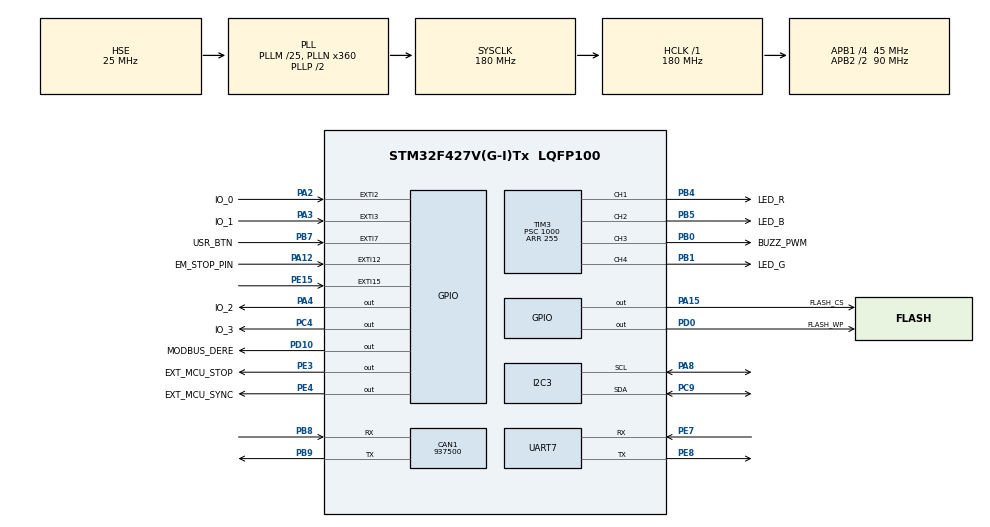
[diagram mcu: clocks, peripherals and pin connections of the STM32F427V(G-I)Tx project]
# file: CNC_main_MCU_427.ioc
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CAN1.BS1=CAN_BS1_1TQ
CAN1.BS2=CAN_BS2_1TQ
CAN1.CalculateBaudRate=937500
CAN1.CalculateTimeBit=1066
CAN1.CalculateTimeQuantum=355.55555555555554
Dma.Request0=TIM3_CH1/TRIG
Dma.Request1=TIM3_CH3
Dma.TIM3_CH1/TRIG.0.Direction=DMA_MEMORY_TO_PERIPH
Dma.TIM3_CH1/TRIG.0.FIFOMode=DMA_FIFOMODE_ENABLE
Dma.TIM3_CH1/TRIG.0.FIFOThreshold=DMA_FIFO_THRESHOLD_FULL
Dma.TIM3_CH1/TRIG.0.Instance=DMA1_Stream4
Dma.TIM3_CH1/TRIG.0.MemBurst=DMA_MBURST_SINGLE
Dma.TIM3_CH1/TRIG.0.MemDataAlignment=DMA_MDATAALIGN_HALFWORD
Dma.TIM3_CH1/TRIG.0.MemInc=DMA_MINC_ENABLE
Dma.TIM3_CH1/TRIG.0.Mode=DMA_CIRCULAR
Dma.TIM3_CH1/TRIG.0.PeriphBurst=DMA_PBURST_SINGLE
Dma.TIM3_CH1/TRIG.0.PeriphDataAlignment=DMA_PDATAALIGN_HALFWORD
Dma.TIM3_CH1/TRIG.0.PeriphInc=DMA_PINC_DISABLE
Dma.TIM3_CH1/TRIG.0.Priority=DMA_PRIORITY_VERY_HIGH
Dma.TIM3_CH3.1.Direction=DMA_MEMORY_TO_PERIPH
Dma.TIM3_CH3.1.FIFOMode=DMA_FIFOMODE_ENABLE
Dma.TIM3_CH3.1.FIFOThreshold=DMA_FIFO_THRESHOLD_FULL
Dma.TIM3_CH3.1.Instance=DMA1_Stream7
Dma.TIM3_CH3.1.MemBurst=DMA_MBURST_SINGLE
Dma.TIM3_CH3.1.MemDataAlignment=DMA_MDATAALIGN_HALFWORD
Dma.TIM3_CH3.1.MemInc=DMA_MINC_ENABLE
Dma.TIM3_CH3.1.Mode=DMA_CIRCULAR
Dma.TIM3_CH3.1.PeriphBurst=DMA_PBURST_SINGLE
Dma.TIM3_CH3.1.PeriphDataAlignment=DMA_PDATAALIGN_HALFWORD
Dma.TIM3_CH3.1.PeriphInc=DMA_PINC_DISABLE
Dma.TIM3_CH3.1.Priority=DMA_PRIORITY_VERY_HIGH
I2C3.I2C_Mode=I2C_Standard
Mcu.Family=STM32F4
Mcu.Name=STM32F427V(G-I)Tx
Mcu.Package=LQFP100
NVIC.DMA1_Stream4_IRQn=true\:0\:0\:false\:false\:true\:false\:true\:true
NVIC.DMA1_Stream7_IRQn=true\:0\:0\:false\:false\:true\:false\:true\:true
NVIC.I2C3_ER_IRQn=true\:0\:0\:false\:false\:true\:true\:true\:true
NVIC.PriorityGroup=NVIC_PRIORITYGROUP_4
NVIC.UART7_IRQn=true\:0\:0\:false\:false\:true\:true\:true\:true
PA0/WKUP.Signal=UART4_TX
PA1.Signal=UART4_RX
PA12.GPIO_Label=EM_STOP_PIN
PA12.Signal=GPXTI12
PA13.Mode=Serial_Wire
PA13.Signal=SYS_JTMS-SWDIO
PA14.Mode=Serial_Wire
PA14.Signal=SYS_JTCK-SWCLK
PA15.GPIO_Label=FLASH_CS
PA15.Signal=GPIO_Output
PA2.GPIO_Label=IO_0
PA2.Signal=GPXTI2
PA3.GPIO_Label=IO_1
PA3.Signal=GPXTI3
PA4.GPIO_Label=IO_2
PA4.Signal=GPIO_Output
PA5.Signal=SPI1_SCK
PA6.Signal=SPI1_MISO
PA7.Signal=SPI1_MOSI
PA8.Mode=I2C
PA8.Signal=I2C3_SCL
PB0.GPIO_Label=BUZZ_PWM
PB0.GPIO_PuPd=GPIO_NOPULL
PB0.GPIO_Speed=GPIO_SPEED_FREQ_VERY_HIGH
PB0.Signal=S_TIM3_CH3
PB1.GPIO_Label=LED_G
PB1.GPIO_ModeDefaultPP=GPIO_MODE_AF_OD
PB1.GPIO_PuPd=GPIO_NOPULL
PB1.GPIO_Speed=GPIO_SPEED_FREQ_VERY_HIGH
PB1.Signal=S_TIM3_CH4
PB10.Signal=I2C2_SCL
PB11.Signal=I2C2_SDA
PB4.GPIO_Label=LED_R
PB4.GPIO_ModeDefaultPP=GPIO_MODE_AF_OD
PB4.GPIO_PuPd=GPIO_NOPULL
PB4.GPIO_Speed=GPIO_SPEED_FREQ_VERY_HIGH
PB4.Signal=S_TIM3_CH1
PB5.GPIO_Label=LED_B
PB5.GPIO_ModeDefaultPP=GPIO_MODE_AF_OD
PB5.GPIO_PuPd=GPIO_NOPULL
PB5.GPIO_Speed=GPIO_SPEED_FREQ_VERY_HIGH
PB5.Signal=S_TIM3_CH2
PB7.GPIO_Label=USR_BTN
PB7.Signal=GPXTI7
PB8.Mode=CAN_Activate
PB8.Signal=CAN1_RX
PB9.Mode=CAN_Activate
PB9.Signal=CAN1_TX
PC10.GPIO_Label=FLASH_SCK
PC10.Signal=SPI3_SCK
PC11.GPIO_Label=FLASH_MISO
PC11.Signal=SPI3_MISO
PC12.GPIO_Label=FLASH_MOSI
PC12.Signal=SPI3_MOSI
PC4.GPIO_Label=IO_3
PC4.Signal=GPIO_Output
PC9.Mode=I2C
PC9.Signal=I2C3_SDA
PD0.GPIO_Label=FLASH_WP
PD0.Signal=GPIO_Output
PD10.GPIO_Label=MODBUS_DERE
PD10.Signal=GPIO_Output
PD12.GPIO_Label=OC_3
PD12.Signal=S_TIM4_CH1
PD13.GPIO_Label=OC_2
PD13.Signal=S_TIM4_CH2
PD14.GPIO_Label=OC_1
PD14.Signal=S_TIM4_CH3
PD15.GPIO_Label=OC_0
PD15.Signal=S_TIM4_CH4
PD8.Signal=USART3_TX
PD9.Signal=USART3_RX
PE15.Signal=GPXTI15
PE3.GPIO_Label=EXT_MCU_STOP
PE3.Signal=GPIO_Output
PE4.GPIO_Label=EXT_MCU_SYNC
PE4.Signal=GPIO_Output
PE5.GPIO_Label=EXT_MCU_COCK
PE5.Signal=S_TIM9_CH1
PE7.Mode=Asynchronous
PE7.Signal=UART7_RX
PE8.Mode=Asynchronous
PE8.Signal=UART7_TX
PH0/OSC_IN.Mode=HSE-External-Oscillator
PH0/OSC_IN.Signal=RCC_OSC_IN
PH1/OSC_OUT.Mode=HSE-External-Oscillator
PH1/OSC_OUT.Signal=RCC_OSC_OUT
ProjectManager.HeapSize=0x200
ProjectManager.StackSize=0x400
ProjectManager.TargetToolchain=MDK-ARM V5.32
RCC.48MHZClocksFreq_Value=51428571.428571425
RCC.AHBFreq_Value=180000000
RCC.APB1CLKDivider=RCC_HCLK_DIV4
RCC.APB1Freq_Value=45000000
RCC.APB1TimFreq_Value=90000000
RCC.APB2CLKDivider=RCC_HCLK_DIV2
RCC.APB2Freq_Value=90000000
RCC.APB2TimFreq_Value=180000000
RCC.CortexFreq_Value=180000000
RCC.HCLKFreq_Value=180000000
RCC.HSE_VALUE=25000000
RCC.HSI_VALUE=16000000
RCC.LSE_VALUE=32768
RCC.PLLM=25
RCC.PLLN=360
RCC.PLLQ=7
RCC.PLLSourceVirtual=RCC_PLLSOURCE_HSE
RCC.SYSCLKFreq_VALUE=180000000
RCC.SYSCLKSource=RCC_SYSCLKSOURCE_PLLCLK
RCC.VCOOutputFreq_Value=360000000
SH.S_TIM3_CH1.0=TIM3_CH1,PWM Generation1 CH1
SH.S_TIM3_CH2.0=TIM3_CH2,PWM Generation2 CH2
SH.S_TIM3_CH3.0=TIM3_CH3,PWM Generation3 CH3
SH.S_TIM3_CH4.0=TIM3_CH4,PWM Generation4 CH4
SH.S_TIM4_CH1.0=TIM4_CH1
SH.S_TIM4_CH2.0=TIM4_CH2
SH.S_TIM4_CH3.0=TIM4_CH3
SH.S_TIM4_CH4.0=TIM4_CH4
SH.S_TIM9_CH1.0=TIM9_CH1
TIM3.AutoReloadPreload=TIM_AUTORELOAD_PRELOAD_ENABLE
TIM3.Channel-PWM\ Generation1\ CH1=TIM_CHANNEL_1
TIM3.Channel-PWM\ Generation2\ CH2=TIM_CHANNEL_2
TIM3.Channel-PWM\ Generation3\ CH3=TIM_CHANNEL_3
TIM3.Channel-PWM\ Generation4\ CH4=TIM_CHANNEL_4
TIM3.ClockDivision=TIM_CLOCKDIVISION_DIV1
TIM3.Period=255
TIM3.Prescaler=1000
UART7.VirtualMode=Asynchronous
VP_TIM3_VS_ClockSourceINT.Mode=Internal
board=custom

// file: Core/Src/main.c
/* USER CODE BEGIN Header */
/**
  ******************************************************************************
  * @file           : main.c
  * @brief          : Main program body
  ******************************************************************************
  * @attention
  *
  * <h2><center>&copy; Copyright (c) 2025 STMicroelectronics.
  * All rights reserved.</center></h2>
  *
  * This software component is licensed by ST under BSD 3-Clause license,
  * the "License"; You may not use this file except in compliance with the
  * License. You may obtain a copy of the License at:
  *                        opensource.org/licenses/BSD-3-Clause
  *
  ******************************************************************************
  */
/* USER CODE END Header */
#include "main.h"
#include "can.h"
#include "dma.h"
#include "i2c.h"
#include "tim.h"
#include "usart.h"
#include "gpio.h"

/* USER CODE BEGIN Includes */
#include "math.h"
/* USER CODE END Includes */

/* USER CODE BEGIN PD */
#define I2C_ADC_ADDR 0x48
/* USER CODE END PD */

/* USER CODE BEGIN PV */
uint16_t sine[1000] = {0};
uint8_t i2cData[3] = {0};
float temp = 0;
uint8_t i2cStatus = 0xff;
/* USER CODE END PV */

void SystemClock_Config(void);

int main(void)
{

  /* MCU Configuration--------------------------------------------------------*/

  /* Reset of all peripherals, Initializes the Flash interface and the Systick. */
  HAL_Init();

  /* Configure the system clock */
  SystemClock_Config();

  /* Initialize all configured peripherals */
  MX_GPIO_Init();
  MX_CAN1_Init();
  MX_DMA_Init();
  MX_UART7_Init();
  MX_TIM3_Init();
  MX_I2C3_Init();
  /* USER CODE BEGIN 2 */
	for (uint16_t i = 0; i < 1000; i++){
		sine[i] = (float) (sinf(2*3.14159*i/1000)+1)*499;
	}

	htim3.Instance -> PSC = 100;
	htim3.Instance -> ARR = 1000;
	htim3.Instance -> CCR1 = htim3.Instance -> ARR + 1;
	htim3.Instance -> CCR2 = htim3.Instance -> ARR + 1;
	htim3.Instance -> CCR3 = 0;
	htim3.Instance -> CCR4 = htim3.Instance -> ARR + 1;
//	HAL_TIM_PWM_Start(&htim3, TIM_CHANNEL_1);
	//HAL_TIM_PWM_Start(&htim3, TIM_CHANNEL_2);
	//HAL_TIM_PWM_Start(&htim3, TIM_CHANNEL_3);
	HAL_TIM_PWM_Start(&htim3, TIM_CHANNEL_4);
	HAL_TIM_PWM_Start_DMA(&htim3, TIM_CHANNEL_1, (uint32_t*) sine, 1000);
	//HAL_TIM_PWM_Start_DMA(&htim3, TIM_CHANNEL_3, (uint32_t*) sine, 1000);

	//i2cData[0] = 0x0C;
	//i2cStatus = HAL_I2C_Mem_Write(&hi2c3, (I2C_ADC_ADDR)<<1, 0, I2C_MEMADD_SIZE_8BIT, i2cData, 1, HAL_MAX_DELAY);
	//i2cStatus = HAL_I2C_Master_Transmit(&hi2c3, (I2C_ADC_ADDR)<<1, i2cData, 1, HAL_MAX_DELAY);
	HAL_Delay(100);

  /* USER CODE END 2 */

  /* Infinite loop */
  /* USER CODE BEGIN WHILE */
  while (1)
  {
//		i2cData[0] = 0x0C;
//		i2cStatus = HAL_I2C_Master_Transmit(&hi2c3, (I2C_ADC_ADDR)<<1, i2cData, 1, HAL_MAX_DELAY);
//		HAL_Delay(100);
		i2cStatus = HAL_I2C_Mem_Read(&hi2c3, (I2C_ADC_ADDR)<<1, 0, I2C_MEMADD_SIZE_8BIT, i2cData, 2, HAL_MAX_DELAY);
		temp = (float)((uint16_t) (i2cData[0]<<8 | i2cData[1]))/2048/1*2.048/0.005*(10+6.2)/10;
		HAL_Delay(100);

    /* USER CODE END WHILE */

  }
}

void SystemClock_Config(void)
{
  RCC_OscInitTypeDef RCC_OscInitStruct = {0};
  RCC_ClkInitTypeDef RCC_ClkInitStruct = {0};

  /** Configure the main internal regulator output voltage
  */
  __HAL_RCC_PWR_CLK_ENABLE();
  __HAL_PWR_VOLTAGESCALING_CONFIG(PWR_REGULATOR_VOLTAGE_SCALE1);
  /** Initializes the RCC Oscillators according to the specified parameters
  * in the RCC_OscInitTypeDef structure.
  */
  RCC_OscInitStruct.OscillatorType = RCC_OSCILLATORTYPE_HSE;
  RCC_OscInitStruct.HSEState = RCC_HSE_ON;
  RCC_OscInitStruct.PLL.PLLState = RCC_PLL_ON;
  RCC_OscInitStruct.PLL.PLLSource = RCC_PLLSOURCE_HSE;
  RCC_OscInitStruct.PLL.PLLM = 25;
  RCC_OscInitStruct.PLL.PLLN = 360;
  RCC_OscInitStruct.PLL.PLLP = RCC_PLLP_DIV2;
  RCC_OscInitStruct.PLL.PLLQ = 7;
  if (HAL_RCC_OscConfig(&RCC_OscInitStruct) != HAL_OK)
  {
    Error_Handler();
  }
  /** Activate the Over-Drive mode
  */
  if (HAL_PWREx_EnableOverDrive() != HAL_OK)
  {
    Error_Handler();
  }
  /** Initializes the CPU, AHB and APB buses clocks
  */
  RCC_ClkInitStruct.ClockType = RCC_CLOCKTYPE_HCLK|RCC_CLOCKTYPE_SYSCLK
                              |RCC_CLOCKTYPE_PCLK1|RCC_CLOCKTYPE_PCLK2;
  RCC_ClkInitStruct.SYSCLKSource = RCC_SYSCLKSOURCE_PLLCLK;
  RCC_ClkInitStruct.AHBCLKDivider = RCC_SYSCLK_DIV1;
  RCC_ClkInitStruct.APB1CLKDivider = RCC_HCLK_DIV4;
  RCC_ClkInitStruct.APB2CLKDivider = RCC_HCLK_DIV2;

  if (HAL_RCC_ClockConfig(&RCC_ClkInitStruct, FLASH_LATENCY_5) != HAL_OK)
  {
    Error_Handler();
  }
}

void Error_Handler(void)
{
  __disable_irq();
  while (1)
  {
  }
}

/************************ (C) COPYRIGHT STMicroelectronics *****END OF FILE****/
